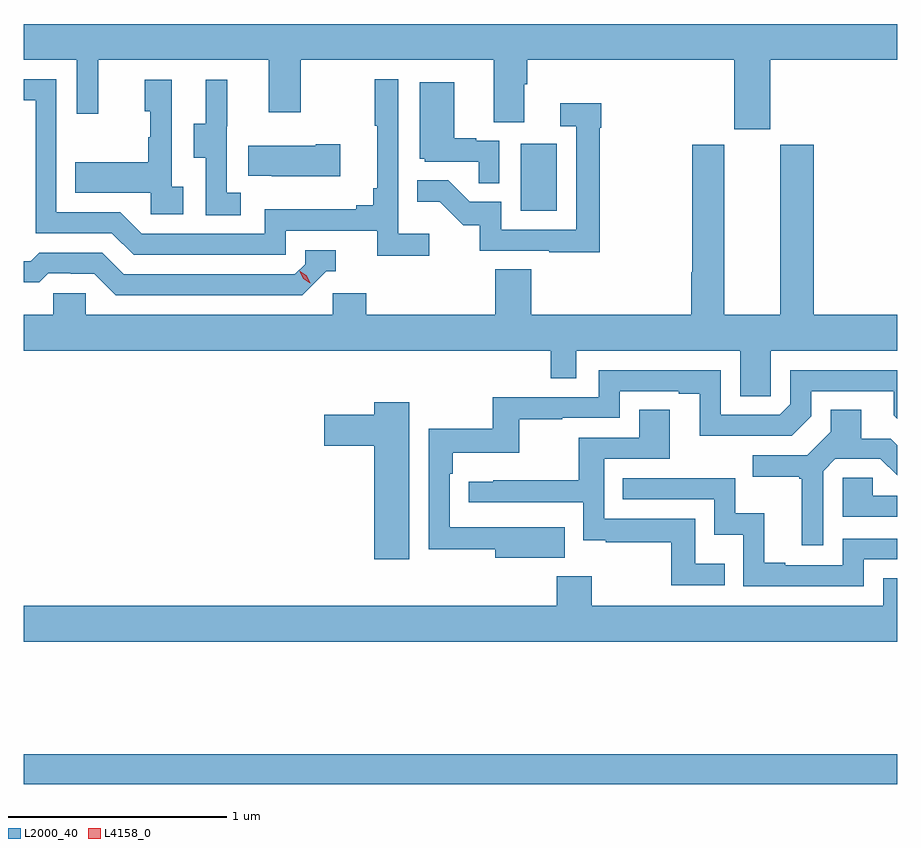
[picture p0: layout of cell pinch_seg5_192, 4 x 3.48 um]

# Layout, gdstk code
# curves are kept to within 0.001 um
import gdstk
lib = gdstk.Library(unit=1e-6, precision=1e-09)
def R(c, l, rs):  # rectangles x0, y0, x1, y1
    for r in rs: c.add(gdstk.rectangle(r[:2], r[2:], *l))
def P(c, l, *ps):  # polygons
    for p in ps: c.add(gdstk.Polygon(p, *l))
L2000_40 = (2000, 40)
L4158_0 = (4158, 0)

pinch_seg5_192 = lib.new_cell('pinch_seg5_192')
R(pinch_seg5_192, L2000_40, [(999.804,906.724,1003.804,906.86), (1002.08,909.348,1002.244,909.655)])
P(pinch_seg5_192, L2000_40, [(1003.222,910.04),(1003.804,910.04),(1003.804,910.204),(999.804,910.204),(999.804,910.04),(1000.047,910.04),(1000.047,909.792),(1000.145,909.792),(1000.145,910.04),(1000.925,910.04),(1000.925,909.801),(1001.073,909.801),(1001.073,910.04),(1001.957,910.04),(1001.957,909.754),(1002.097,909.754),(1002.097,909.928),(1002.11,909.928),(1002.11,910.04),(1003.058,910.04),(1003.058,909.723),(1003.222,909.723)],
  [(1001.662,909.244),(1001.52,909.244),(1001.52,909.952),(1001.412,909.952),(1001.412,909.739),(1001.423,909.739),(1001.423,909.451),(1001.404,909.451),(1001.404,909.374),(1001.327,909.374),(1001.327,909.355),(1000.908,909.355),(1000.908,909.243),(1000.344,909.243),(1000.245,909.342),(999.954,909.342),(999.954,909.951),(999.804,909.951),(999.804,909.855),(999.858,909.855),(999.858,909.246),(1000.208,909.246),(1000.307,909.147),(1001.004,909.147),(1001.004,909.258),(1001.423,909.258),(1001.423,909.142),(1001.662,909.142)],
  [(1000.534,909.458),(1000.482,909.458),(1000.482,909.949),(1000.358,909.949),(1000.358,909.804),(1000.384,909.804),(1000.384,909.686),(1000.374,909.686),(1000.374,909.571),(1000.039,909.571),(1000.039,909.431),(1000.386,909.431),(1000.386,909.333),(1000.534,909.333)],
  [(1000.798,909.431),(1000.734,909.431),(1000.734,909.735),(1000.736,909.735),(1000.736,909.949),(1000.637,909.949),(1000.637,909.747),(1000.583,909.747),(1000.583,909.592),(1000.638,909.592),(1000.638,909.328),(1000.798,909.328)],
  [(1001.982,909.669),(1001.876,909.669),(1001.876,909.682),(1001.776,909.682),(1001.776,909.937),(1001.618,909.937),(1001.618,909.588),(1001.64,909.588),(1001.64,909.573),(1001.887,909.573),(1001.887,909.475),(1001.982,909.475)],
  [(1002.442,909.728),(1002.449,909.728),(1002.449,909.841),(1002.261,909.841),(1002.261,909.735),(1002.333,909.735),(1002.333,909.261),(1001.991,909.261),(1001.991,909.39),(1001.847,909.39),(1001.749,909.488),(1001.605,909.488),(1001.605,909.389),(1001.709,909.389),(1001.816,909.282),(1001.893,909.282),(1001.893,909.165),(1002.211,909.165),(1002.211,909.16),(1002.442,909.16)],
  [(1001.254,909.654),(1001.141,909.654),(1001.141,909.646),(1000.831,909.646),(1000.831,909.509),(1000.939,909.509),(1000.939,909.506),(1001.254,909.506)],
  [(999.939,908.97),(999.939,908.872),(999.804,908.872),(999.804,908.708),(1002.217,908.708),(1002.217,908.581),(1002.333,908.581),(1002.333,908.708),(1003.085,908.708),(1003.085,908.5),(1003.224,908.5),(1003.224,908.708),(1003.804,908.708),(1003.804,908.872),(1003.421,908.872),(1003.421,909.651),(1003.268,909.651),(1003.268,908.872),(1003.012,908.872),(1003.012,909.651),(1002.865,909.651),(1002.865,909.068),(1002.86,909.068),(1002.86,908.872),(1002.128,908.872),(1002.128,909.08),(1001.963,909.08),(1001.963,908.872),(1001.372,908.872),(1001.372,908.97),(1001.22,908.97),(1001.22,908.872),(1000.089,908.872),(1000.089,908.97)],
  [(1001.19,909.072),(1001.233,909.072),(1001.233,909.168),(1001.094,909.168),(1001.094,909.105),(1001.046,909.057),(1000.263,909.057),(1000.164,909.156),(999.875,909.156),(999.836,909.117),(999.804,909.117),(999.804,909.021),(999.875,909.021),(999.917,909.063),(1000.02,909.063),(1000.02,909.06),(1000.127,909.06),(1000.226,908.961),(1001.079,908.961)],
  [(1002.281,907.9),(1001.754,907.899),(1001.754,908.144),(1001.768,908.144),(1001.768,908.24),(1002.073,908.24),(1002.073,908.395),(1002.269,908.395),(1002.269,908.4),(1002.534,908.4),(1002.534,908.523),(1002.803,908.523),(1002.803,908.511),(1002.899,908.511),(1002.899,908.318),(1003.32,908.319),(1003.41,908.409),(1003.41,908.523),(1003.787,908.523),(1003.787,908.413),(1003.804,908.396),(1003.804,908.619),(1003.314,908.619),(1003.314,908.463),(1003.266,908.415),(1002.996,908.415),(1002.996,908.619),(1002.438,908.619),(1002.438,908.496),(1001.952,908.496),(1001.952,908.35),(1001.658,908.35),(1001.658,907.798),(1001.963,907.798),(1001.963,907.76),(1002.281,907.76)],
  [(1001.569,908.473),(1001.408,908.473),(1001.408,908.415),(1001.181,908.415),(1001.181,908.273),(1001.408,908.273),(1001.408,907.752),(1001.569,907.752)],
  [(1003.013,907.732),(1002.879,907.732),(1002.879,907.938),(1002.462,907.938),(1002.462,908.214),(1002.763,908.214),(1002.763,908.438),(1002.623,908.438),(1002.623,908.31),(1002.346,908.31),(1002.346,908.114),(1001.953,908.114),(1001.953,908.109),(1001.841,908.109),(1001.841,908.013),(1002.366,908.013),(1002.366,907.841),(1002.469,907.841),(1002.469,907.83),(1002.768,907.83),(1002.768,907.635),(1003.013,907.635)],
  [(1003.464,908.157),(1003.521,908.214),(1003.727,908.214),(1003.804,908.137),(1003.804,908.276),(1003.774,908.306),(1003.639,908.306),(1003.639,908.438),(1003.499,908.438),(1003.499,908.336),(1003.392,908.229),(1003.143,908.229),(1003.143,908.132),(1003.356,908.132),(1003.356,908.121),(1003.367,908.121),(1003.367,907.818),(1003.464,907.818)],
  [(1003.804,908.043),(1003.691,908.043),(1003.691,908.127),(1003.554,908.127),(1003.554,907.947),(1003.804,907.947)],
  [(1003.65,907.752),(1003.804,907.752),(1003.804,907.848),(1003.554,907.848),(1003.554,907.725),(1003.291,907.725),(1003.291,907.738),(1003.195,907.738),(1003.195,907.963),(1003.062,907.963),(1003.062,908.124),(1002.547,908.124),(1002.547,908.028),(1002.966,908.028),(1002.966,907.865),(1003.098,907.865),(1003.098,907.629),(1003.65,907.629)],
  [(1003.804,907.667),(1003.74,907.667),(1003.74,907.54),(1002.405,907.54),(1002.405,907.675),(1002.245,907.675),(1002.245,907.54),(999.804,907.54),(999.804,907.376),(1003.804,907.376)])
P(pinch_seg5_192, L4158_0, [(1001.116,909.018),(1001.085,909.037),(1001.069,909.07),(1001.069,909.071),(1001.07,909.071),(1001.1,909.051),(1001.116,909.018),(1001.116,909.018)])

lib.write_gds('pinch_seg5_192.gds')
